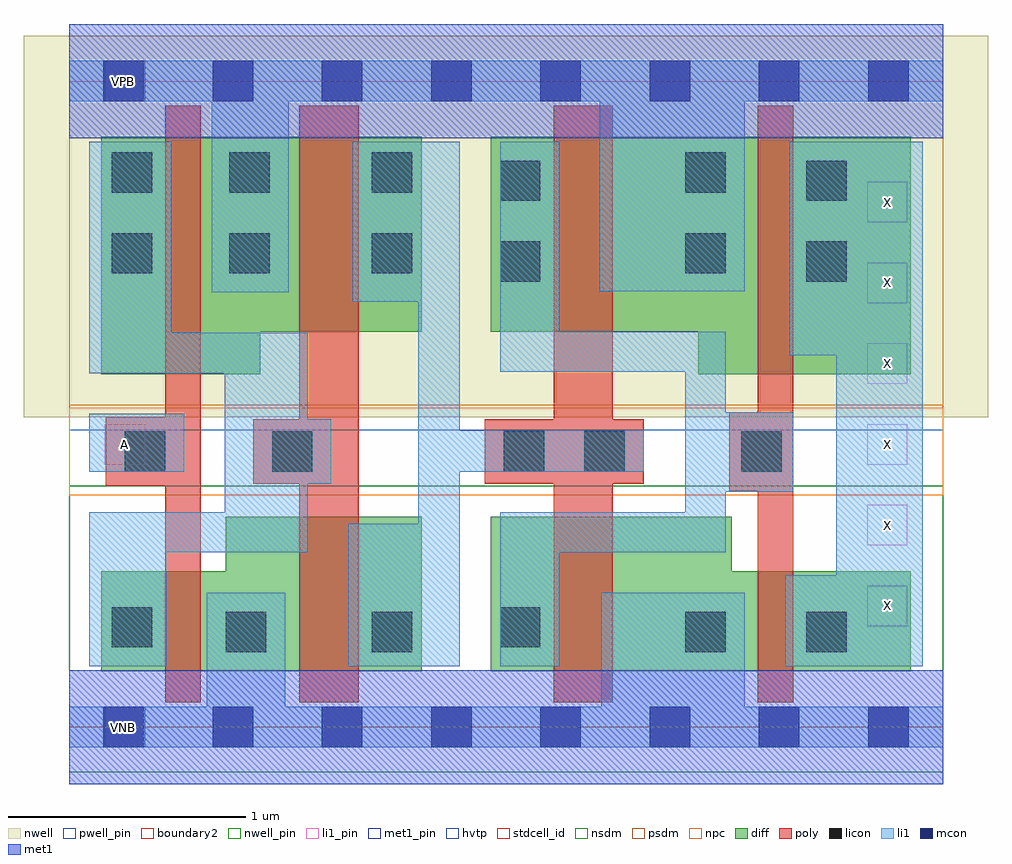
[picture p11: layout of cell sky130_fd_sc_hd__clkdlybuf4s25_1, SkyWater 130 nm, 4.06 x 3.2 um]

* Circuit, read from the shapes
.subckt sky130_fd_sc_hd__clkdlybuf4s25_1 A VGND VNB VPB VPWR X
XM1 VGND A n1 VNB sky130_fd_pr__nfet_01v8 w=0.42 l=0.15
XM2 n2 n1 VGND VNB sky130_fd_pr__nfet_01v8 w=0.65 l=0.25
XM3 VGND n2 n3 VNB sky130_fd_pr__nfet_01v8 w=0.65 l=0.25
XM4 X n3 VGND VNB sky130_fd_pr__nfet_01v8 w=0.42 l=0.15
XM5 VPWR A n1 VPB sky130_fd_pr__pfet_01v8_hvt w=1 l=0.15
XM6 n2 n1 VPWR VPB sky130_fd_pr__pfet_01v8_hvt w=0.82 l=0.25
XM7 VPWR n2 n3 VPB sky130_fd_pr__pfet_01v8_hvt w=0.82 l=0.25
XM8 X n3 VPWR VPB sky130_fd_pr__pfet_01v8_hvt w=1 l=0.15
.ends

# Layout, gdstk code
import gdstk
lib = gdstk.Library(unit=1e-6, precision=1e-09)
def R(c, l, rs):  # rectangles x0, y0, x1, y1
    for r in rs: c.add(gdstk.rectangle(r[:2], r[2:], *l))
def A(c, l, x, y, w, h, nx, ny, dx, dy):  # array of equal rectangles
    R(c, l, [(x+i*dx, y+j*dy, x+i*dx+w, y+j*dy+h) for i in range(nx) for j in range(ny)])
def P(c, l, *ps):  # polygons
    for p in ps: c.add(gdstk.Polygon(p, *l))
nwell_pin = (64, 16)
nwell = (64, 20)
diff = (65, 20)
poly = (66, 20)
licon = (66, 44)
li1_pin = (67, 16)
li1 = (67, 20)
mcon = (67, 44)
met1_pin = (68, 16)
met1 = (68, 20)
hvtp = (78, 44)
stdcell_id = (81, 4)
nsdm = (93, 44)
psdm = (94, 20)
npc = (95, 20)
pwell_pin = (122, 16)
boundary2 = (236, 0)

sky130_fd_sc_hd__clkdlyb = lib.new_cell('sky130_fd_sc_hd__clkdlybuf4s25_1')
R(sky130_fd_sc_hd__clkdlyb, nwell_pin, [(0.15,2.635,0.32,2.805)])
R(sky130_fd_sc_hd__clkdlyb, nwell, [(-0.19,1.305,3.87,2.91)])
P(sky130_fd_sc_hd__clkdlyb, diff, [(3.545,0.655),(2.79,0.655),(2.79,0.885),(1.775,0.885),(1.775,0.235),(3.545,0.235)],
  [(1.485,2.485),(0.135,2.485),(0.135,1.485),(0.805,1.485),(0.805,1.665),(1.485,1.665)],
  [(1.485,0.885),(0.66,0.885),(0.66,0.655),(0.135,0.655),(0.135,0.235),(1.485,0.235)],
  [(3.545,2.485),(1.775,2.485),(1.775,1.665),(2.65,1.665),(2.65,1.485),(3.545,1.485)])
P(sky130_fd_sc_hd__clkdlyb, poly, [(0.555,2.615),(0.405,2.615),(0.405,1.305),(0.155,1.305),(0.155,1.015),(0.405,1.015),(0.405,0.105),(0.555,0.105)],
  [(1.22,2.615),(0.97,2.615),(0.97,1.295),(0.775,1.295),(0.775,1.025),(0.97,1.025),(0.97,0.105),(1.22,0.105)],
  [(2.42,1.295),(2.29,1.295),(2.29,2.615),(2.04,2.615),(2.04,1.295),(1.75,1.295),(1.75,1.025),(2.04,1.025),(2.04,0.105),(2.29,0.105),(2.29,1.025),(2.42,1.025)],
  [(3.05,2.615),(2.9,2.615),(2.9,1.325),(2.78,1.325),(2.78,0.995),(2.9,0.995),(2.9,0.105),(3.05,0.105)])
R(sky130_fd_sc_hd__clkdlyb, licon, [(0.66,0.315,0.83,0.485), (1.275,0.315,1.445,0.485), (2.595,0.315,2.765,0.485), (3.105,0.315,3.275,0.485), (0.18,0.335,0.35,0.505), (1.815,0.335,1.985,0.505), (0.235,1.075,0.405,1.245), (0.855,1.075,1.025,1.245), (1.83,1.075,2,1.245), (2.17,1.075,2.34,1.245), (2.83,1.075,3,1.245), (1.815,1.875,1.985,2.045), (3.105,1.875,3.275,2.045), (0.18,1.91,0.35,2.08), (0.675,1.91,0.845,2.08), (1.275,1.91,1.445,2.08), (2.595,1.91,2.765,2.08), (1.815,2.215,1.985,2.385), (3.105,2.215,3.275,2.385), (0.18,2.25,0.35,2.42), (0.675,2.25,0.845,2.42), (1.275,2.25,1.445,2.42), (2.595,2.25,2.765,2.42)])
A(sky130_fd_sc_hd__clkdlyb, li1_pin, 3.36, 0.425, 0.17, 0.17, 1, 6, 0, 0.34)
R(sky130_fd_sc_hd__clkdlyb, li1_pin, [(0.15,1.105,0.32,1.275)])
R(sky130_fd_sc_hd__clkdlyb, li1, [(0.085,1.075,0.485,1.32)])
P(sky130_fd_sc_hd__clkdlyb, li1, [(3.68,0.085),(2.845,0.085),(2.845,0.565),(2.24,0.565),(2.24,0.085),(0.91,0.085),(0.91,0.565),(0.58,0.565),(0.58,0.085),(0,0.085),(0,-0.085),(3.68,-0.085)],
  [(3.68,2.805),(0,2.805),(0,2.635),(0.6,2.635),(0.6,1.83),(0.925,1.83),(0.925,2.635),(2.235,2.635),(2.235,1.835),(2.845,1.835),(2.845,2.635),(3.68,2.635)],
  [(1.105,1.295),(1.005,1.295),(1.005,1.66),(0.43,1.66),(0.43,2.465),(0.085,2.465),(0.085,1.49),(0.655,1.49),(0.655,0.905),(0.085,0.905),(0.085,0.255),(0.41,0.255),(0.41,0.735),(1.005,0.735),(1.005,1.025),(1.105,1.025)],
  [(2.42,1.25),(1.645,1.25),(1.645,2.465),(1.195,2.465),(1.195,1.79),(1.47,1.79),(1.47,0.855),(1.175,0.855),(1.175,0.255),(1.645,0.255),(1.645,1.075),(2.42,1.075)],
  [(3.05,1.325),(2.765,1.325),(2.765,1.665),(2.065,1.665),(2.065,2.465),(1.815,2.465),(1.815,1.495),(2.595,1.495),(2.595,0.905),(1.815,0.905),(1.815,0.255),(2.065,0.255),(2.065,0.735),(2.765,0.735),(2.765,0.99),(3.05,0.99)],
  [(3.595,2.465),(3.035,2.465),(3.035,1.565),(3.23,1.565),(3.23,0.64),(3.015,0.64),(3.015,0.255),(3.595,0.255)])
A(sky130_fd_sc_hd__clkdlyb, mcon, 0.145, -0.085, 0.17, 0.17, 8, 2, 0.46, 2.72)
R(sky130_fd_sc_hd__clkdlyb, met1_pin, [(0.15,-0.085,0.32,0.085), (0.15,2.635,0.32,2.805)])
R(sky130_fd_sc_hd__clkdlyb, hvtp, [(0,1.25,3.68,2.72)])
R(sky130_fd_sc_hd__clkdlyb, stdcell_id, [(0,0,3.68,2.72)])
R(sky130_fd_sc_hd__clkdlyb, nsdm, [(0,-0.19,3.68,1.015)])
R(sky130_fd_sc_hd__clkdlyb, psdm, [(0,1.355,3.68,2.91)])
R(sky130_fd_sc_hd__clkdlyb, npc, [(0,0.975,3.68,1.345)])
R(sky130_fd_sc_hd__clkdlyb, pwell_pin, [(0.15,-0.085,0.32,0.085)])
R(sky130_fd_sc_hd__clkdlyb, boundary2, [(0,0,3.68,2.72)])
sky130_fd_sc_hd__clkdlyb.add(gdstk.FlexPath([(0,2.72),(3.68,2.72)], 0.48, ends="flush", simple_path=True, layer=68, datatype=20))  # met1
sky130_fd_sc_hd__clkdlyb.add(gdstk.FlexPath([(0,0),(3.68,0)], 0.48, ends="flush", simple_path=True, layer=68, datatype=20))  # met1
sky130_fd_sc_hd__clkdlyb.add(gdstk.Label('A', (0.235,1.19), layer=67, texttype=5))
sky130_fd_sc_hd__clkdlyb.add(gdstk.Label('X', (3.445,2.21), layer=67, texttype=5))
sky130_fd_sc_hd__clkdlyb.add(gdstk.Label('X', (3.445,1.87), layer=67, texttype=5))
sky130_fd_sc_hd__clkdlyb.add(gdstk.Label('X', (3.445,1.53), layer=67, texttype=5))
sky130_fd_sc_hd__clkdlyb.add(gdstk.Label('X', (3.445,1.19), layer=67, texttype=5))
sky130_fd_sc_hd__clkdlyb.add(gdstk.Label('X', (3.445,0.85), layer=67, texttype=5))
sky130_fd_sc_hd__clkdlyb.add(gdstk.Label('X', (3.445,0.51), layer=67, texttype=5))
sky130_fd_sc_hd__clkdlyb.add(gdstk.Label('VNB', (0.23,0), layer=64, texttype=59))
sky130_fd_sc_hd__clkdlyb.add(gdstk.Label('VPB', (0.23,2.72), layer=64, texttype=5))
sky130_fd_sc_hd__clkdlyb.add(gdstk.Label('VPWR', (0.23,2.72), layer=68, texttype=5))
sky130_fd_sc_hd__clkdlyb.add(gdstk.Label('VGND', (0.23,0), layer=68, texttype=5))
sky130_fd_sc_hd__clkdlyb.add(gdstk.Label('clkdlybuf4s25_1', (0,0), layer=83, texttype=44))

lib.write_gds('sky130_fd_sc_hd__clkdlybuf4s25_1.gds')
